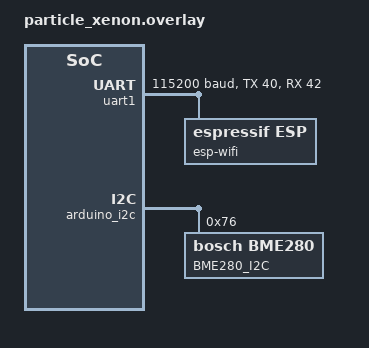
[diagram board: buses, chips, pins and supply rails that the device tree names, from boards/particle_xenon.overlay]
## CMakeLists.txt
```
# SPDX-License-Identifier: Apache-2.0

cmake_minimum_required(VERSION 3.13.1)

find_package(Zephyr REQUIRED HINTS $ENV{ZEPHYR_BASE})
project(lightdb)

target_sources(app PRIVATE src/main.c)
target_sources_ifdef(CONFIG_NET_L2_WIFI_MGMT app PRIVATE src/wifi.c)
```

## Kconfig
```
# Copyright (c) 2021 Golioth, Inc.
# SPDX-License-Identifier: Apache-2.0

mainmenu "Golioth Light DB Stream application options"

config GOLIOTH_SERVER_IP_ADDR
	string "Server IP Address"
	default "104.197.107.212" if NET_IPV4
	default NET_CONFIG_PEER_IPV6_ADDR if (NET_CONFIG_SETTINGS && NET_IPV6)
	help
	  Defines IPv4 address of Golioth server.

config GOLIOTH_SERVER_PORT
	int "Server Port"
	default 5684 if NET_SOCKETS_SOCKOPT_TLS
	default 5683
	help
	  Defines port number of Golioth server.

config GOLIOTH_SERVER_DTLS_PSK_ID
	string "PSK ID"
	help
	  Defines PSK ID used during DTLS handshake.

config GOLIOTH_SERVER_DTLS_PSK
	string "PSK"
	help
	  Defines PSK ID used during DTLS handshake.

if NET_L2_WIFI_MGMT

config GOLIOTH_SAMPLE_WIFI_SSID
	string "WiFi SSID"
	help
	  WiFi SSID used when connecting to WiFi AP.

config GOLIOTH_SAMPLE_WIFI_PSK
	string "WiFi PSK"
	help
	  WiFi PSK used when connecting to WiFi AP. Leave empty if connecting to
	  unsecure (open) AP.

endif # NET_L2_WIFI_MGMT

source "Kconfig.zephyr"
```

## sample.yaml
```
sample:
  description: Access Golioth Light DB Stream
  name: lightdb-stream
common:
  harness: net
  platform_allow: esp32 particle_xenon qemu_cortex_m3 qemu_x86
  tags: golioth net socket
tests:
  sample.golioth.lightdb-stream: {}
```

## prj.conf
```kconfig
# Generic networking options
CONFIG_NETWORKING=y
CONFIG_NET_IPV4=y
CONFIG_NET_IPV6=n

# Logging
CONFIG_NET_LOG=y

# Network Shell
CONFIG_NET_SHELL=y

# TLS configuration
CONFIG_MBEDTLS_ENABLE_HEAP=y
CONFIG_MBEDTLS_HEAP_SIZE=8192
CONFIG_MBEDTLS_SSL_MAX_CONTENT_LEN=2048

# Application
CONFIG_MAIN_STACK_SIZE=4096
CONFIG_EVENTFD=y

CONFIG_NET_GOLIOTH=y

CONFIG_TINYCBOR=y
CONFIG_MINIMAL_LIBC_MALLOC_ARENA_SIZE=8192

CONFIG_SENSOR=y
CONFIG_I2C=y
CONFIG_BME280=y
```

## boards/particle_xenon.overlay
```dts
&uart1 {
  compatible = "nordic,nrf-uarte";
  current-speed = <115200>;
  status = "okay";
  tx-pin = <40>;
  rx-pin = <42>;
  rts-pin = <35>;
  cts-pin = <43>;
  hw-flow-control;

  esp_wifi: esp-wifi {
    compatible = "espressif,esp";
    label = "esp-wifi";
    // reset-gpios = <&feather_header 20 GPIO_ACTIVE_LOW>;
    status = "okay";
  };
};

&arduino_i2c {
  status = "okay";
  bme280@76 {
    compatible = "bosch,bme280";
    reg = <0x76>;
    label = "BME280_I2C";
  };
};
```

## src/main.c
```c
/*
 * Copyright (c) 2021 Golioth, Inc.
 *
 * SPDX-License-Identifier: Apache-2.0
 */

#include <logging/log.h>
LOG_MODULE_REGISTER(golioth_lightdb_stream, LOG_LEVEL_DBG);

#include <errno.h>
#include <logging/golioth.h>
#include <net/socket.h>
#include <net/coap.h>
#include <net/golioth.h>
#include <device.h>
#include <devicetree.h>
#include <drivers/sensor.h>
#include <net/tls_credentials.h>
#include <posix/sys/eventfd.h>

#include <drivers/gpio.h>
#include <tinycbor/cbor.h>
#include <tinycbor/cbor_buf_reader.h>

#include "wifi.h"

#define RX_TIMEOUT		K_SECONDS(30)

#define MAX_COAP_MSG_LEN	256

#define TLS_PSK_ID		CONFIG_GOLIOTH_SERVER_DTLS_PSK_ID
#define TLS_PSK			CONFIG_GOLIOTH_SERVER_DTLS_PSK

#define PSK_TAG			1

/* Golioth instance */
static struct golioth_client g_client;
static struct golioth_client *client = &g_client;

static uint8_t rx_buffer[MAX_COAP_MSG_LEN];

static struct sockaddr addr;

#define POLLFD_EVENT_RECONNECT	0
#define POLLFD_SOCKET		1

static struct zsock_pollfd fds[2];
static struct coap_reply coap_replies[2];

static K_SEM_DEFINE(golioth_client_ready, 0, 1);

static void client_request_reconnect(void)
{
	eventfd_write(fds[POLLFD_EVENT_RECONNECT].fd, 1);
}

static void client_rx_timeout_work(struct k_work *work)
{
	LOG_ERR("RX client timeout!");

	client_request_reconnect();
}

static K_WORK_DEFINE(rx_timeout_work, client_rx_timeout_work);

static void client_rx_timeout(struct k_timer *timer)
{
	k_work_submit(&rx_timeout_work);
}

static K_TIMER_DEFINE(rx_timeout, client_rx_timeout, NULL);

static void golioth_on_message(struct golioth_client *client,
			       struct coap_packet *rx)
{
	uint16_t payload_len;
	const uint8_t *payload;
	uint8_t type;

	type = coap_header_get_type(rx);
	payload = coap_packet_get_payload(rx, &payload_len);

	if (!IS_ENABLED(CONFIG_LOG_BACKEND_GOLIOTH) && payload) {
		LOG_HEXDUMP_DBG(payload, payload_len, "Payload");
	}

	(void)coap_response_received(rx, NULL, coap_replies,
				     ARRAY_SIZE(coap_replies));
}

static int init_tls(void)
{
	int err;

	err = tls_credential_add(PSK_TAG,
				TLS_CREDENTIAL_PSK,
				TLS_PSK,
				sizeof(TLS_PSK) - 1);
	if (err < 0) {
		LOG_ERR("Failed to register PSK: %d", err);
		return err;
	}

	err = tls_credential_add(PSK_TAG,
				TLS_CREDENTIAL_PSK_ID,
				TLS_PSK_ID,
				sizeof(TLS_PSK_ID) - 1);
	if (err < 0) {
		LOG_ERR("Failed to register PSK ID: %d", err);
		return err;
	}

	return 0;
}

static int initialize_client(void)
{
	sec_tag_t sec_tag_list[] = {
#if defined(CONFIG_NET_SOCKETS_SOCKOPT_TLS)
		PSK_TAG,
#endif /* defined(CONFIG_NET_SOCKETS_SOCKOPT_TLS) */
	};
	int err;

	if (IS_ENABLED(CONFIG_NET_SOCKETS_SOCKOPT_TLS)) {
		init_tls();
	}

	golioth_init(client);

	client->rx_buffer = rx_buffer;
	client->rx_buffer_len = sizeof(rx_buffer);

	client->on_message = golioth_on_message;

	if (IS_ENABLED(CONFIG_NET_SOCKETS_SOCKOPT_TLS)) {
		err = golioth_set_proto_coap_dtls(client, sec_tag_list,
						  ARRAY_SIZE(sec_tag_list));
	} else {
		err = golioth_set_proto_coap_udp(client, TLS_PSK_ID,
						 sizeof(TLS_PSK_ID) - 1);
	}
	if (err) {
		LOG_ERR("Failed to set protocol: %d", err);
		return err;
	}

	if (IS_ENABLED(CONFIG_NET_IPV4)) {
		struct sockaddr_in *addr4 = (struct sockaddr_in *) &addr;

		addr4->sin_family = AF_INET;
		addr4->sin_port = htons(CONFIG_GOLIOTH_SERVER_PORT);

		zsock_inet_pton(addr4->sin_family, CONFIG_GOLIOTH_SERVER_IP_ADDR,
				&addr4->sin_addr);

		client->server = (struct sockaddr *)addr4;
	} else if (IS_ENABLED(CONFIG_NET_IPV6)) {
		struct sockaddr_in6 *addr6 = (struct sockaddr_in6 *) &addr;

		addr6->sin6_family = AF_INET6;
		addr6->sin6_port = htons(CONFIG_GOLIOTH_SERVER_PORT);

		zsock_inet_pton(addr6->sin6_family, CONFIG_GOLIOTH_SERVER_IP_ADDR,
				&addr6->sin6_addr);

		client->server = (struct sockaddr *)addr6;
	}

	fds[POLLFD_EVENT_RECONNECT].fd = eventfd(0, EFD_NONBLOCK);
	fds[POLLFD_EVENT_RECONNECT].events = ZSOCK_POLLIN;

	if (IS_ENABLED(CONFIG_LOG_BACKEND_GOLIOTH)) {
		log_backend_golioth_init(client);
	}

	return 0;
}

static int connect_client(void)
{
	int err;
	int i;

	err = golioth_connect(client);
	if (err) {
		LOG_ERR("Failed to connect: %d", err);
		return err;
	}

	fds[POLLFD_SOCKET].fd = client->sock;
	fds[POLLFD_SOCKET].events = ZSOCK_POLLIN;

  for (i = 0; i < ARRAY_SIZE(coap_replies); i++) {
		coap_reply_clear(&coap_replies[i]);
	}

	return 0;
}

static void golioth_main(void *arg1, void *arg2, void *arg3)
{
	eventfd_t eventfd_value;
	int err;

	LOG_INF("Initializing golioth client");

	err = initialize_client();
	if (err) {
		LOG_ERR("Failed to initialize client: %d", err);
		return;
	}

	LOG_INF("Golioth client initialized");

  if (IS_ENABLED(CONFIG_NET_L2_WIFI_MGMT)) {
		LOG_INF("Connecting to WiFi");
		wifi_connect();
	}

	k_sem_give(&golioth_client_ready);

	while (true) {
		if (client->sock < 0) {
			LOG_INF("Starting connect");
			err = connect_client();
			if (err) {
				LOG_WRN("Failed to connect: %d", err);
				k_sleep(RX_TIMEOUT);
				continue;
			}

			/* Flush reconnect requests */
			(void)eventfd_read(fds[POLLFD_EVENT_RECONNECT].fd,
					   &eventfd_value);

			/* Add RX timeout */
			k_timer_start(&rx_timeout, RX_TIMEOUT, K_NO_WAIT);

			LOG_INF("Client connected!");
		}

		if (zsock_poll(fds, ARRAY_SIZE(fds), -1) < 0) {
			LOG_ERR("Error in poll:%d", errno);
			/* TODO: reconnect */
			break;
		}

		if (fds[POLLFD_EVENT_RECONNECT].revents) {
			(void)eventfd_read(fds[POLLFD_EVENT_RECONNECT].fd,
					   &eventfd_value);
			LOG_INF("Reconnect request");
			golioth_disconnect(client);
			continue;
		}

		if (fds[POLLFD_SOCKET].revents) {
			/* Restart timer */
			k_timer_start(&rx_timeout, RX_TIMEOUT, K_NO_WAIT);

			err = golioth_process_rx(client);
			if (err) {
				LOG_ERR("Failed to receive: %d", err);
				golioth_disconnect(client);
			}
		}
	}
}

K_THREAD_DEFINE(golioth_main_thread, 2048, golioth_main, NULL, NULL, NULL,
		K_LOWEST_APPLICATION_THREAD_PRIO, 0, 0);

/*
 * Get a device structure from a devicetree node with compatible
 * "bosch,bme280". (If there are multiple, just pick one.)
 */
static const struct device *get_bme280_device(void)
{
	const struct device *dev = DEVICE_DT_GET_ANY(bosch_bme280);

	if (dev == NULL) {
		/* No such node, or the node does not have status "okay". */
		printk("\nError: no device found.\n");
		return NULL;
	}

	if (!device_is_ready(dev)) {
		printk("\nError: Device \"%s\" is not ready; "
		       "check the driver initialization logs for errors.\n",
		       dev->name);
		return NULL;
	}

	printk("Found device \"%s\", getting sensor data\n", dev->name);
	return dev;
}

void main(void)
{
	char buffer[sizeof("{ \"temp\" : 00.00, \"press\" : 00.00, \"hum\" : 00.00 }")];	
	int err;

	LOG_DBG("Start Light DB Stream sample");

  const struct device *sensor = get_bme280_device();

	if (sensor == NULL) {
		return;
	}

	k_sem_take(&golioth_client_ready, K_FOREVER);

	while (true) {    
    struct sensor_value temp, press, humidity;

		sensor_sample_fetch(sensor);
		sensor_channel_get(sensor, SENSOR_CHAN_AMBIENT_TEMP, &temp);
		sensor_channel_get(sensor, SENSOR_CHAN_PRESS, &press);
		sensor_channel_get(sensor, SENSOR_CHAN_HUMIDITY, &humidity);

		snprintk(buffer, sizeof(buffer) - 1, "{\"temp\":%d.%02d,\"press\": %d.%02d,\"hum\":%d.%02d} ", temp.val1, temp.val2, press.val1, press.val2, humidity.val1, humidity.val2);

    LOG_INF("sending env data: %s", log_strdup(buffer));

		err = golioth_lightdb_stream_send(client,
					  GOLIOTH_LIGHTDB_STREAM_PATH("env"),
					  COAP_CONTENT_FORMAT_APP_JSON,
					  buffer, strlen(buffer));
		if (err) {
			LOG_WRN("Failed to send env data: %d", err);
		}

		k_sleep(K_SECONDS(60));
	}

	LOG_DBG("Quit");
}
```

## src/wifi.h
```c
/*
 * Copyright (c) 2021 Golioth, Inc.
 *
 * SPDX-License-Identifier: Apache-2.0
 */


#ifndef __WIFI_H__
#define __WIFI_H__

void wifi_connect(void);

#endif /* __WIFI_H__ */
```
